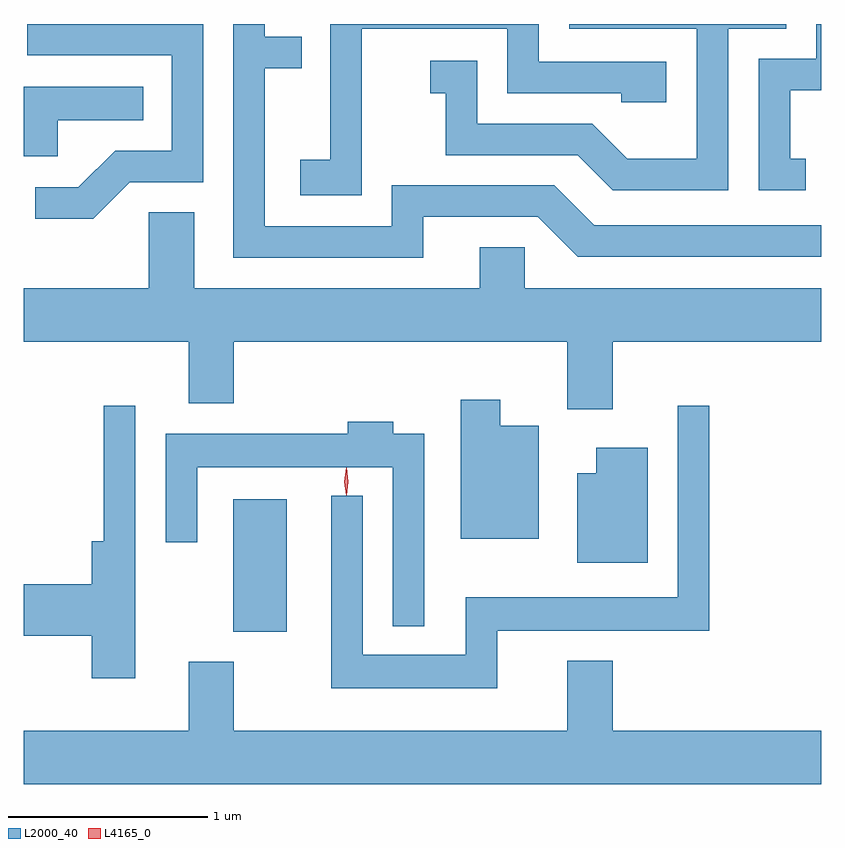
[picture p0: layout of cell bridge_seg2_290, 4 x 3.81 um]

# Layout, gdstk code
import gdstk
lib = gdstk.Library(unit=1e-6, precision=1e-09)
def R(c, l, rs):  # rectangles x0, y0, x1, y1
    for r in rs: c.add(gdstk.rectangle(r[:2], r[2:], *l))
def P(c, l, *ps):  # polygons
    for p in ps: c.add(gdstk.Polygon(p, *l))
L2000_40 = (2000, 40)
L4165_0 = (4165, 0)

bridge_seg2_290 = lib.new_cell('bridge_seg2_290')
R(bridge_seg2_290, L2000_40, [(408.036,1057.961,408.304,1058.624)])
P(bridge_seg2_290, L2000_40, [(410.908,1060.334),(410.829,1060.334),(410.829,1060.676),(410.985,1060.676),(410.985,1061.009),(410.961,1061.009),(410.961,1060.834),(410.671,1060.834),(410.671,1060.176),(410.908,1060.176)],
  [(407.517,1060.216),(407.884,1060.216),(407.884,1061.009),(407.003,1061.009),(407.003,1060.851),(407.726,1060.851),(407.726,1060.374),(407.444,1060.374),(407.259,1060.189),(407.043,1060.189),(407.043,1060.031),(407.332,1060.031)],
  [(408.989,1060.041),(409.564,1060.041),(409.764,1059.841),(410.985,1059.841),(410.985,1059.999),(409.847,1059.999),(409.647,1060.199),(408.831,1060.199),(408.831,1059.994),(408.194,1059.994),(408.194,1060.786),(408.378,1060.786),(408.378,1060.944),(408.194,1060.944),(408.194,1061.009),(408.036,1061.009),(408.036,1059.836),(408.989,1059.836)],
  [(408.679,1060.986),(409.411,1060.986),(409.411,1060.661),(409.981,1060.661),(409.981,1060.616),(410.209,1060.616),(410.209,1060.819),(409.569,1060.819),(409.569,1061.009),(408.521,1061.009),(408.521,1060.329),(408.371,1060.329),(408.371,1060.151),(408.679,1060.151)],
  [(410.519,1060.986),(410.809,1060.986),(410.809,1061.009),(409.721,1061.009),(409.721,1060.986),(410.361,1060.986),(410.361,1060.334),(410.012,1060.334),(409.837,1060.509),(409.259,1060.509),(409.259,1060.824),(409.023,1060.824),(409.023,1060.661),(409.101,1060.661),(409.101,1060.351),(409.764,1060.351),(409.939,1060.176),(410.519,1060.176)],
  [(407.154,1060.526),(407.583,1060.526),(407.583,1060.694),(406.985,1060.694),(406.985,1060.346),(407.154,1060.346)],
  [(409.939,1059.416),(410.985,1059.416),(410.985,1059.684),(409.499,1059.684),(409.499,1059.889),(409.271,1059.889),(409.271,1059.684),(407.839,1059.684),(407.839,1060.064),(407.611,1060.064),(407.611,1059.684),(406.985,1059.684),(406.985,1059.416),(407.811,1059.416),(407.811,1059.106),(408.039,1059.106),(408.039,1059.416),(409.711,1059.416),(409.711,1059.076),(409.939,1059.076)],
  [(409.569,1058.994),(409.374,1058.994),(409.374,1059.124),(409.176,1059.124),(409.176,1058.426),(409.569,1058.426)],
  [(407.544,1059.093),(407.386,1059.093),(407.386,1058.414),(407.326,1058.414),(407.326,1058.199),(406.985,1058.199),(406.985,1057.941),(407.326,1057.941),(407.326,1057.726),(407.544,1057.726)],
  [(409.359,1057.966),(410.424,1057.966),(410.424,1059.093),(410.266,1059.093),(410.266,1058.134),(409.201,1058.134),(409.201,1057.844),(408.684,1057.844),(408.684,1058.643),(408.526,1058.643),(408.526,1057.676),(409.359,1057.676)],
  [(408.994,1058.954),(408.839,1058.954),(408.839,1059.014),(408.611,1059.014),(408.611,1058.954),(407.696,1058.954),(407.696,1058.408),(407.854,1058.408),(407.854,1058.786),(408.836,1058.786),(408.836,1057.988),(408.994,1057.988)],
  [(410.114,1058.884),(409.856,1058.884),(409.856,1058.754),(409.761,1058.754),(409.761,1058.306),(410.114,1058.306)],
  [(410.985,1057.464),(409.939,1057.464),(409.939,1057.814),(409.711,1057.814),(409.711,1057.464),(408.039,1057.464),(408.039,1057.809),(407.811,1057.809),(407.811,1057.464),(406.985,1057.464),(406.985,1057.196),(410.985,1057.196)])
P(bridge_seg2_290, L4165_0, [(408.603,1058.644),(408.603,1058.644),(408.593,1058.713),(408.603,1058.782),(408.603,1058.783),(408.604,1058.782),(408.613,1058.713),(408.604,1058.644)])

lib.write_gds('bridge_seg2_290.gds')
